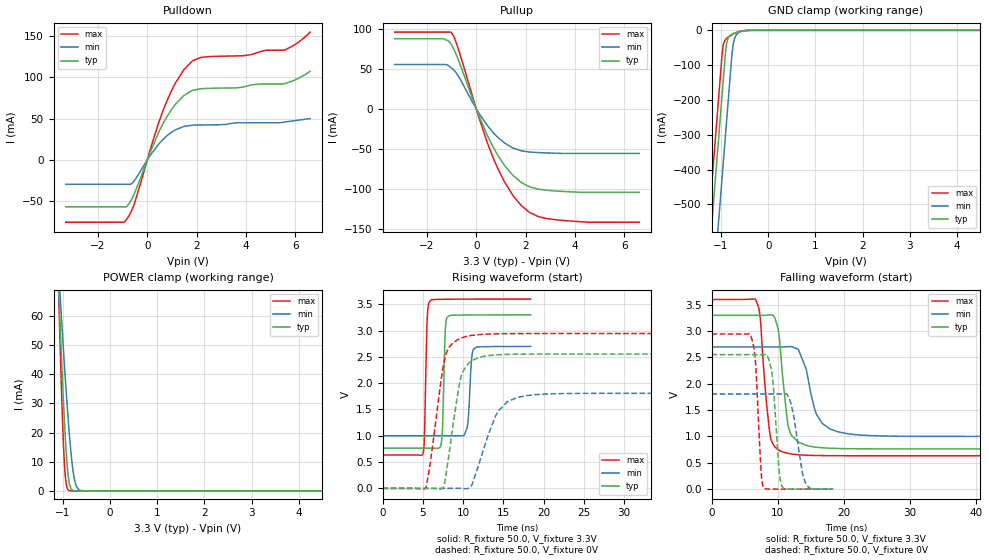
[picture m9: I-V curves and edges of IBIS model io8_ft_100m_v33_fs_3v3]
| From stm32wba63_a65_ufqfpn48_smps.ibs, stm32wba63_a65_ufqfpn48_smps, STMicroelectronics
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[Model]   io8_ft_100m_v33_fs_3v3
Model_type I/O
Polarity   Non-Inverting
Enable   Active-Low
| CAP_THRESHOLD on pad IOFT is "UDTCAPC" :
| Rising=30.0% of vddiom   Falling=70.0% of vddiom
| C_comp min and max val. don't necessarily correlate with the min and max pvt
| but are the smallest and greatest pad capacitance found.
| var   typ   min   max
C_comp   3.88674pF  3.77802pF  3.94187pF
|C_comp_pullup   2.41868pF  2.25967pF  2.53638pF
|C_comp_pulldown   1.46805pF  1.51834pF  1.40549pF
Vinl = 1.35V
Vinh = 1.8V
Vmeas = 1.65V   | Reference voltage for timing measurements
Cref  = 50.0pF   | Timing specification test load capacitance value
Rref  = 1.0MOhm   | Timing specification test load resistance value
Vref  = 1.815V   | Timing specification test load voltage
[Model Spec]
| TIME_THRESHOLD on pin ZIV33M is "CMOS" :
| Rising=50.0% of vddiom   Falling=50.0% of vddiom
Vinl 1.28450V 1.07450V 1.37050V
Vinh 1.79550V 1.51850V 1.89950V
| variable   typ   min   max
[Temperature Range] 25.0 140.0 -40.0
| variable   typ   min   max
[Voltage Range] 3.3V 2.7V 3.6V
| variable   typ   min   max
[POWER Clamp Reference] 3.3V 2.7V 3.6V
| variable   typ   min   max
[GND Clamp Reference] 0V 0V 0V
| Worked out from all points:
|   slope of the pulldown table from 0 to 0.495 V, typ, clamps not added: 14 ohm
|   slope of the pullup table from 0 to 0.495 V, typ, clamps not added: 13.8 ohm
|   GND clamp passes 1 mA (typ) near -0.51 V on its own axis
|   POWER clamp passes 1 mA (typ) near -0.83 V on its own axis
|   rising waveform, R_fixture 50.0, V_fixture 3.3V: 20-80 % time 262ps typ, 357ps min, 248ps max; typ from 0.764 V to 3.3 V
|   falling waveform, R_fixture 50.0, V_fixture 3.3V: 20-80 % time 1.18ns typ, 2.21ns min, 1.14ns max; typ from 3.3 V to 0.764 V
|   rising waveform, R_fixture 50.0, V_fixture 0V: 20-80 % time 1.5ns typ, 2.52ns min, 1.56ns max; typ from 0 V to 2.55 V
|   falling waveform, R_fixture 50.0, V_fixture 0V: 20-80 % time 833ps typ, 1.34ns min, 705ps max; typ from 2.55 V to 0 V
[POWER Clamp]
-3.3V     1.123A     753mA      1.645A
-1.09V    69.42mA    75.17mA    67.14mA
-1.08V    65.31mA    72.42mA    61.23mA
-1.06V    57.23mA    66.98mA    49.77mA
-1.01V    38.06mA    53.68mA    24.29mA
-970mV    24.36mA    43.46mA    9.575mA
-930mV    13.06mA    33.74mA    2.352mA
-870mV    3.065mA    20.56mA    165.9uA
-810mV    418.4uA    10.06mA    10.3uA
-760mV    69.41uA    4.321mA    1.009uA
-630mV    611.5nA    197uA      2.727nA
6.6V      0A         0A         0A
[GND Clamp]
-3.3V     -4.134A    -4.372A    -4.018A
-1.59V    -1.227A    -1.465A    -1.111A
-1.25V    -648.9mA   -886.9mA   -533mA
-980mV    -189.9mA   -427.9mA   -74mA
-960mV    -155.9mA   -393.9mA   -48.8mA
-910mV    -70.86mA   -308.9mA   -27.2mA
-880mV    -37.23mA   -257.9mA   -22.76mA
-770mV    -11.28mA   -71.59mA   -12.95mA
-730mV    -8.709mA   -32.74mA   -10.07mA
-630mV    -4.122mA   -6.943mA   -4.354mA
-370mV    -42.68uA   -212.2uA   -13.03uA
6.6V      2.31nA     506.4nA    1.057nA
| variable   typ   min   max
[Pullup Reference] 3.3V 2.7V 3.6V
| variable   typ   min   max
[Pulldown Reference] 0V 0V 0V
[Pullup]
-3.3V     87.39mA    55.15mA    95.62mA
-1.32V    87.39mA    55.15mA    95.62mA
-990mV    78.93mA    50.69mA    94.27mA
-710mV    59.9mA     39.94mA    72.94mA
120mV     -9.566mA   -6.09mA    -12.19mA
460mV     -33.83mA   -21.24mA   -43.26mA
800mV     -54.04mA   -33.36mA   -69.41mA
1.48V     -82.86mA   -48.82mA   -107.8mA
2.17V     -97.42mA   -53.93mA   -129.4mA
2.7V      -101mA     -54.85mA   -135.9mA
3.48V     -102.9mA   -55.62mA   -139.1mA
6.6V      -104.1mA   -55.62mA   -141.4mA
[Pulldown]
-3.3V     -56.7mA    -29.42mA   -75.36mA
-860mV    -56.67mA   -29.42mA   -72.94mA
-520mV    -40.69mA   -25.01mA   -52.64mA
460mV     33.25mA    19.09mA    44.92mA
800mV     52.54mA    29.36mA    71.75mA
1.14V     67.41mA    36.49mA    93.2mA
1.48V     77.97mA    40.67mA    109.3mA
1.83V     84.38mA    42.18mA    120.1mA
2.17V     86.37mA    42.45mA    124.3mA
3.88V     88.31mA    45.11mA    126.3mA
5.54V     92.28mA    45.89mA    133mA
6.6V      107.5mA    50.2mA     155mA
[Ramp]
dV/dt_r 1.53258V/1.50303ns 1.08444V/2.50691ns 1.76673V/1.55627ns
dV/dt_f 1.52157V/1.18011ns 1.019V/1.98919ns 1.77971V/1.13472ns
R_load = 50.0
| Removed startup time: 0s 0s 0s  .
| Removed end time: 18.4ns.
[Rising Waveform]
R_fixture   = 50.0
V_fixture   = 3.3V
V_fixture_min = 2.7V
V_fixture_max = 3.6V
0s        764mV      1.002V     633.8mV
5ns       764.1mV    1.002V     651.8mV
5.2ns     764.1mV    1.002V     962.5mV
5.55ns    764.1mV    1.002V     3.244V
6ns       764.1mV    1.002V     3.583V
7.35ns    920.2mV    1.002V     3.596V
8ns       3.251V     1.002V     3.597V
10.5ns    3.297V     1.145V     3.599V
11.3ns    3.298V     2.647V     3.599V
18.4ns    3.3V       2.699V     3.6V
| Removed startup time: 0s 0s 0s  .
| Removed end time: 58.4ns.
[Falling Waveform]
R_fixture   = 50.0
V_fixture   = 3.3V
V_fixture_min = 2.7V
V_fixture_max = 3.6V
0s        3.3V       2.7V       3.6V
6.65ns    3.3V       2.7V       3.602V
7.35ns    3.3V       2.7V       3.245V
8.85ns    3.308V     2.7V       1.02V
10ns      3.067V     2.7V       754.1mV
10.65ns   2.248V     2.7V       711.4mV
12.1ns    1.017V     2.706V     666.8mV
15.8ns    796.3mV    1.431V     639.2mV
19.1ns    772.2mV    1.088V     635.3mV
58.4ns    764mV      1.002V     633.8mV
| Removed startup time: 0s 0s 0s  .
| Removed end time: 58.35ns.
[Rising Waveform]
R_fixture   = 50.0
V_fixture   = 0V
V_fixture_min = 0V
V_fixture_max = 0V
0s        20.88nV    123.8nV    58.45nV
5.35ns    955.2nV    120.5nV    6.8mV
7.5ns     12.43mV    902.8nV    2.288V
8.25ns    645.9mV    7.199uV    2.677V
9.45ns    1.907V     132.3uV    2.838V
9.95ns    2.208V     -3.36mV    2.87V
11.1ns    2.428V     67.75mV    2.91V
14.3ns    2.541V     1.455V     2.94V
16.7ns    2.551V     1.727V     2.943V
58.35ns   2.554V     1.807V     2.945V
| Removed startup time: 0s 0s 0s  .
| Removed end time: 18.35ns.
[Falling Waveform]
R_fixture   = 50.0
V_fixture   = 0V
V_fixture_min = 0V
V_fixture_max = 0V
0s        2.554V     1.807V     2.945V
6ns       2.554V     1.807V     2.88V
6.6ns     2.554V     1.807V     2.453V
7.5ns     2.554V     1.807V     304.2mV
7.9ns     2.554V     1.807V     16.84mV
9.15ns    2.167V     1.807V     1.776mV
10.65ns   51.37mV    1.807V     999.5uV
12ns      2.153mV    1.622V     724.3uV
14.25ns   923.8uV    102mV      377uV
18.35ns   299.2uV    1.679mV    99.61uV
